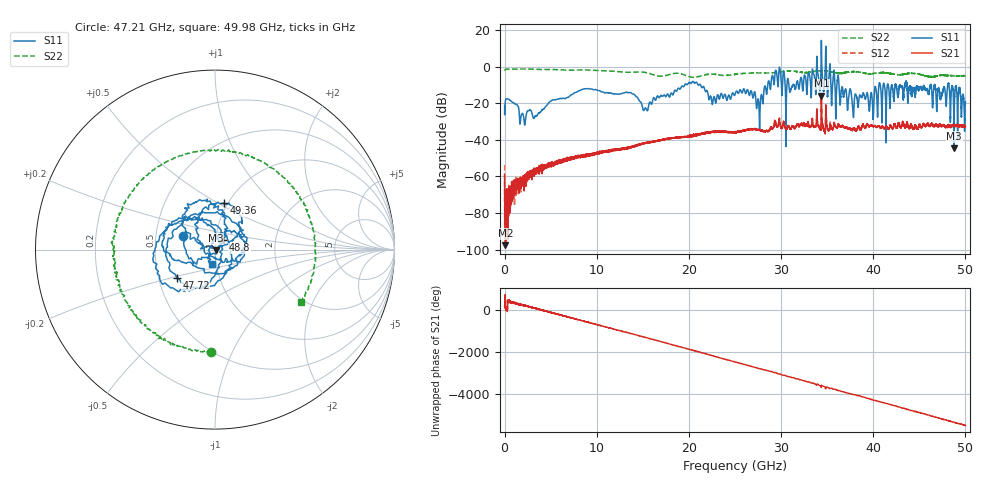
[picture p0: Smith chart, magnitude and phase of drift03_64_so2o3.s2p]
!Created with skrf (http://scikit-rf.org).
# Hz S RI R 50.0
!freq ReS11 ImS11 ReS21 ImS21 ReS12 ImS12 ReS22 ImS22
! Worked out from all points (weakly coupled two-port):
!   10001 points, 300 kHz to 50 GHz, reference 50 ohm
!   highest |S21| = -15.99 dB at 34.37 GHz (marker M1); lowest = -97.7 dB at 90.3 MHz (marker M2)
!   lowest |S11| = -44.6 dB at 48.77 GHz (marker M3), VSWR 1.01, Z = 50.4 - j0.401 ohm
!   |S11| at or under -10 dB: start of sweep to 19.55 GHz; 21.25 GHz to 28.55 GHz (7.297 GHz wide, 29.3 % of centre); 36.28 GHz to 40.62 GHz (4.333 GHz wide, 11.3 % of centre) (the widest 3 of 35)
!   |S22| runs from -5.9 to -1.3 dB; largest |S21 - S12| = 0.029
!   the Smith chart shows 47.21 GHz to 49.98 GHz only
!   S11 on the Smith chart (normalised r, x): 47.21 GHz: 0.69, +0.11; 47.72 GHz: 0.62, -0.21; 48.8 GHz: 1.09, +0.11; 49.36 GHz: 0.96, +0.54; 49.98 GHz: 0.95, -0.15
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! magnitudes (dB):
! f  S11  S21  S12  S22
! 300 kHz  -21.5  -59.3  -53.7  -2.1
! 90.3 MHz  -18.6  -97.7  -80.7  -1.5
! 3.3 GHz  -27.2  -56.4  -57.5  -1.5
! 8.335 GHz  -12.6  -48.5  -49.2  -1.9
! 15.29 GHz  -22.8  -42.0  -41.7  -3.3
! 16.67 GHz  -16.5  -40.7  -40.6  -5.2
! 20.26 GHz  -9.1  -38.2  -38.0  -5.8
! 25 GHz  -15.2  -35.7  -36.0  -4.3
! 27.52 GHz  -17.8  -34.5  -34.4  -3.5
! 29.28 GHz  -8.6  -31.3  -30.5  -3.3
! 30.73 GHz  -6.6  -32.6  -32.6  -2.4
! 33.34 GHz  -7.5  -31.4  -31.2  -2.9
! 34.37 GHz  14.2  -16.0  -17.3  -2.3
! 37.86 GHz  -27.8  -33.7  -34.2  -2.9
! 41.67 GHz  -11.4  -34.2  -34.1  -3.7
! 47.21 GHz  -14.2  -32.0  -31.9  -4.9
! 47.72 GHz  -11.5  -32.7  -32.3  -4.8
! 48.77 GHz  -44.6  -32.6  -32.3  -5.1
! 48.8 GHz  -23.1  -32.7  -32.1  -5.1
! 49.36 GHz  -11.6  -32.8  -32.5  -5.1
! 49.98 GHz  -22.0  -32.9  -32.9  -5.0
! 50 GHz  -19.2  -32.7  -32.6  -5.0
